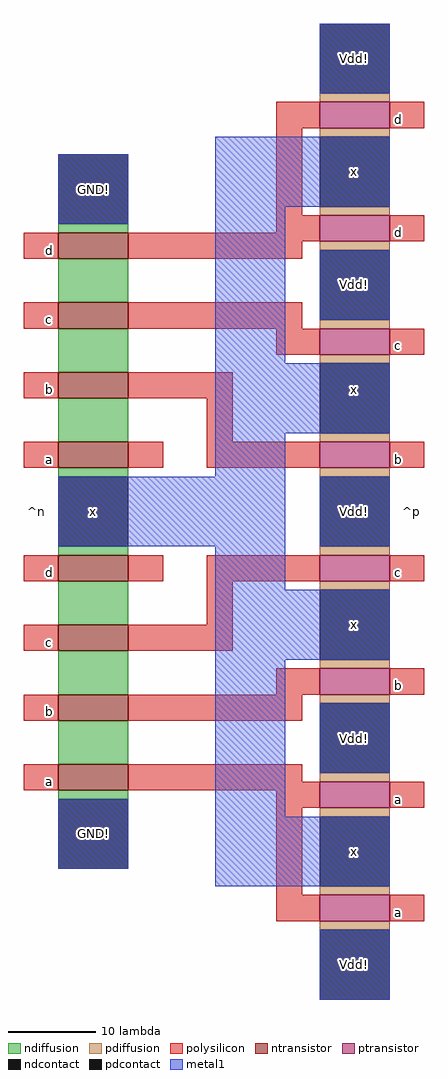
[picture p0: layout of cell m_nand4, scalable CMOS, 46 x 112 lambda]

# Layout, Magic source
magic
tech scmos
<< ndiffusion >>
rect -214 -706 -206 -705
rect -214 -714 -206 -709
rect -214 -722 -206 -717
rect -214 -730 -206 -725
rect -214 -734 -206 -733
rect -214 -743 -206 -742
rect -214 -751 -206 -746
rect -214 -759 -206 -754
rect -214 -767 -206 -762
rect -214 -771 -206 -770
<< pdiffusion >>
rect -184 -691 -176 -690
rect -184 -695 -176 -694
rect -184 -704 -176 -703
rect -184 -708 -176 -707
rect -184 -717 -176 -716
rect -184 -721 -176 -720
rect -184 -730 -176 -729
rect -184 -734 -176 -733
rect -184 -743 -176 -742
rect -184 -747 -176 -746
rect -184 -756 -176 -755
rect -184 -760 -176 -759
rect -184 -769 -176 -768
rect -184 -773 -176 -772
rect -184 -782 -176 -781
rect -184 -786 -176 -785
<< ntransistor >>
rect -214 -709 -206 -706
rect -214 -717 -206 -714
rect -214 -725 -206 -722
rect -214 -733 -206 -730
rect -214 -746 -206 -743
rect -214 -754 -206 -751
rect -214 -762 -206 -759
rect -214 -770 -206 -767
<< ptransistor >>
rect -184 -694 -176 -691
rect -184 -707 -176 -704
rect -184 -720 -176 -717
rect -184 -733 -176 -730
rect -184 -746 -176 -743
rect -184 -759 -176 -756
rect -184 -772 -176 -769
rect -184 -785 -176 -782
<< polysilicon >>
rect -189 -694 -184 -691
rect -176 -694 -172 -691
rect -189 -704 -186 -694
rect -189 -706 -184 -704
rect -218 -709 -214 -706
rect -206 -707 -184 -706
rect -176 -707 -172 -704
rect -206 -709 -186 -707
rect -218 -717 -214 -714
rect -206 -717 -186 -714
rect -189 -720 -184 -717
rect -176 -720 -172 -717
rect -218 -725 -214 -722
rect -206 -725 -194 -722
rect -197 -730 -194 -725
rect -218 -733 -214 -730
rect -206 -733 -202 -730
rect -197 -733 -184 -730
rect -176 -733 -172 -730
rect -218 -746 -214 -743
rect -206 -746 -202 -743
rect -197 -746 -184 -743
rect -176 -746 -172 -743
rect -197 -751 -194 -746
rect -218 -754 -214 -751
rect -206 -754 -194 -751
rect -189 -759 -184 -756
rect -176 -759 -172 -756
rect -218 -762 -214 -759
rect -206 -762 -186 -759
rect -218 -770 -214 -767
rect -206 -769 -186 -767
rect -206 -770 -184 -769
rect -189 -772 -184 -770
rect -176 -772 -172 -769
rect -189 -782 -186 -772
rect -189 -785 -184 -782
rect -176 -785 -172 -782
<< ndcontact >>
rect -214 -705 -206 -697
rect -214 -742 -206 -734
rect -214 -779 -206 -771
<< pdcontact >>
rect -184 -690 -176 -682
rect -184 -703 -176 -695
rect -184 -716 -176 -708
rect -184 -729 -176 -721
rect -184 -742 -176 -734
rect -184 -755 -176 -747
rect -184 -768 -176 -760
rect -184 -781 -176 -773
rect -184 -794 -176 -786
<< metal1 >>
rect -184 -690 -176 -682
rect -214 -705 -206 -697
rect -196 -703 -176 -695
rect -196 -721 -188 -703
rect -184 -716 -176 -708
rect -196 -729 -176 -721
rect -196 -734 -188 -729
rect -214 -742 -188 -734
rect -184 -742 -176 -734
rect -196 -747 -188 -742
rect -196 -755 -176 -747
rect -214 -779 -206 -771
rect -196 -773 -188 -755
rect -184 -768 -176 -760
rect -196 -781 -176 -773
rect -184 -794 -176 -786
<< labels >>
rlabel metal1 -180 -724 -180 -724 1 x
rlabel metal1 -180 -790 -180 -790 1 Vdd!
rlabel metal1 -180 -699 -180 -699 5 x
rlabel polysilicon -175 -784 -175 -784 7 a
rlabel polysilicon -175 -693 -175 -693 7 d
rlabel metal1 -180 -712 -180 -712 5 Vdd!
rlabel metal1 -180 -738 -180 -738 5 Vdd!
rlabel metal1 -180 -764 -180 -764 1 Vdd!
rlabel metal1 -180 -777 -180 -777 1 x
rlabel metal1 -180 -751 -180 -751 5 x
rlabel metal1 -180 -686 -180 -686 1 Vdd!
rlabel polysilicon -175 -758 -175 -758 7 b
rlabel polysilicon -175 -706 -175 -706 7 d
rlabel polysilicon -175 -771 -175 -771 7 a
rlabel polysilicon -175 -745 -175 -745 7 c
rlabel polysilicon -175 -732 -175 -732 7 b
rlabel polysilicon -175 -719 -175 -719 7 c
rlabel space -176 -794 -171 -682 3 ^p
rlabel polysilicon -215 -732 -215 -732 3 a
rlabel polysilicon -215 -724 -215 -724 3 b
rlabel polysilicon -215 -716 -215 -716 3 c
rlabel metal1 -210 -738 -210 -738 5 x
rlabel metal1 -210 -701 -210 -701 5 GND!
rlabel metal1 -210 -775 -210 -775 1 GND!
rlabel polysilicon -215 -708 -215 -708 1 d
rlabel polysilicon -215 -761 -215 -761 3 b
rlabel polysilicon -215 -769 -215 -769 3 a
rlabel polysilicon -215 -753 -215 -753 1 c
rlabel space -219 -779 -214 -697 7 ^n
rlabel polysilicon -215 -745 -215 -745 3 d
<< end >>
